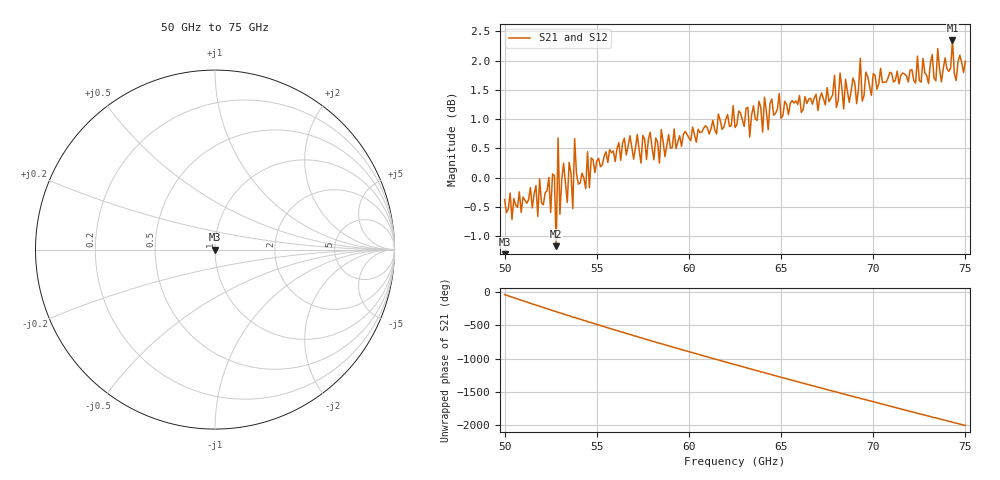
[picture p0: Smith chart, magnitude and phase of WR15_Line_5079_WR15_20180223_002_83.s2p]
# GHZ S RI R 50
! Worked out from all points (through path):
!   251 points, 50 GHz to 75 GHz, reference 50 ohm
!   highest |S21| = 2.34 dB at 74.3 GHz (marker M1); lowest = -1.2 dB at 52.8 GHz (marker M2)
!   lowest |S11| = - dB at 50 GHz (marker M3), VSWR 1.00, Z = 50 + j8.26e-16 ohm
!   |S11| at or under -10 dB: start of sweep to end of sweep
!   |S22| runs from - to - dB; largest |S21 - S12| = 1e-14
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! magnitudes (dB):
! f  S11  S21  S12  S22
! 50 GHz  -  -0.4  -0.4  -
! 51.8 GHz  -  -0.7  -0.7  -
! 52.4 GHz  -  0.0  0.0  -
! 52.5 GHz  -  -0.6  -0.6  -
! 52.7 GHz  -  0.0  0.0  -
! 52.8 GHz  -  -1.2  -1.2  -
! 52.9 GHz  -  0.7  0.7  -
! 53 GHz  -  -0.6  -0.6  -
! 53.2 GHz  -  0.2  0.2  -
! 53.7 GHz  -  -0.5  -0.5  -
! 53.8 GHz  -  0.7  0.7  -
! 54.2 GHz  -  0.1  0.1  -
! 58.4 GHz  -  0.3  0.3  -
! 58.5 GHz  -  0.8  0.8  -
! 62.5 GHz  -  0.9  0.9  -
! 66.7 GHz  -  1.3  1.3  -
! 70.9 GHz  -  1.8  1.8  -
! 73.5 GHz  -  2.2  2.2  -
! 73.7 GHz  -  1.6  1.6  -
! 74.3 GHz  -  2.3  2.3  -
! 74.5 GHz  -  1.7  1.7  -
! 75 GHz  -  2.0  2.0  -
